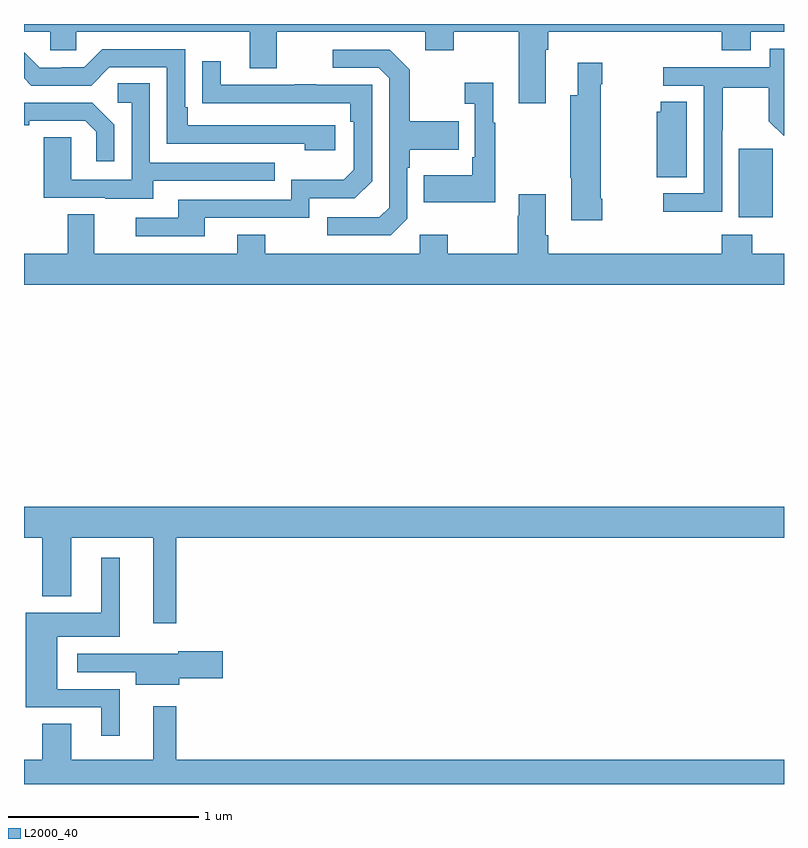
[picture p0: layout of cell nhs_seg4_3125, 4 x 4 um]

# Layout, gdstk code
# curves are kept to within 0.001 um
import gdstk
lib = gdstk.Library(unit=1e-6, precision=1e-09)
def R(c, l, rs):  # rectangles x0, y0, x1, y1
    for r in rs: c.add(gdstk.rectangle(r[:2], r[2:], *l))
def P(c, l, *ps):  # polygons
    for p in ps: c.add(gdstk.Polygon(p, *l))
L2000_40 = (2000, 40)

nhs_seg4_3125 = lib.new_cell('nhs_seg4_3125')
R(nhs_seg4_3125, L2000_40, [(280.763,755.882,280.942,756.243)])
P(nhs_seg4_3125, L2000_40, [(279.745,756.764),(279.758,756.764),(279.758,756.86),(280.673,756.86),(280.673,756.761),(280.825,756.761),(280.825,756.86),(281,756.86),(281,756.9),(277,756.9),(277,756.86),(277.137,756.86),(277.137,756.762),(277.275,756.762),(277.275,756.86),(278.189,756.86),(278.189,756.666),(278.329,756.666),(278.329,756.86),(279.113,756.86),(279.113,756.761),(279.261,756.761),(279.261,756.86),(279.605,756.86),(279.605,756.483),(279.745,756.483)],
  [(280.674,756.34),(280.677,756.34),(280.677,756.564),(280.921,756.564),(280.921,756.389),(280.998,756.312),(281,756.314),(281,756.769),(280.926,756.769),(280.926,756.672),(280.365,756.672),(280.365,756.576),(280.578,756.576),(280.578,756.009),(280.365,756.009),(280.365,755.911),(280.674,755.911)],
  [(278.638,756.366),(277.861,756.366),(277.861,756.463),(277.848,756.463),(277.848,756.768),(277.413,756.768),(277.317,756.672),(277.199,756.672),(277.199,756.669),(277.083,756.669),(277,756.752),(277,756.614),(277.038,756.576),(277.353,756.576),(277.449,756.672),(277.752,756.672),(277.752,756.27),(278.477,756.27),(278.477,756.236),(278.638,756.236)],
  [(279.018,755.874),(279.018,756.143),(279.031,756.143),(279.031,756.239),(279.287,756.239),(279.287,756.387),(279.031,756.387),(279.031,756.659),(278.925,756.765),(278.625,756.765),(278.625,756.669),(278.868,756.669),(278.922,756.615),(278.922,755.934),(278.871,755.883),(278.595,755.883),(278.595,755.787),(278.931,755.787)],
  [(277.951,755.88),(278.502,755.88),(278.502,755.982),(278.742,755.982),(278.832,756.072),(278.832,756.579),(278.537,756.579),(278.537,756.584),(278.425,756.584),(278.425,756.579),(278.035,756.579),(278.035,756.703),(277.939,756.703),(277.939,756.484),(278.716,756.483),(278.716,756.386),(278.736,756.386),(278.736,756.132),(278.683,756.079),(278.406,756.079),(278.406,755.976),(277.811,755.976),(277.811,755.88),(277.587,755.88),(277.587,755.784),(277.951,755.784)],
  [(280.044,755.98),(280.036,755.98),(280.036,756.584),(280.044,756.584),(280.044,756.697),(279.914,756.697),(279.914,756.526),(279.874,756.526),(279.874,756.091),(279.881,756.091),(279.881,755.868),(280.044,755.868)],
  [(279.481,756.379),(279.469,756.379),(279.469,756.592),(279.321,756.592),(279.321,756.479),(279.372,756.479),(279.372,756.199),(279.36,756.199),(279.36,756.103),(279.103,756.103),(279.103,755.963),(279.481,755.963)],
  [(277.681,756.075),(278.321,756.075),(278.321,756.171),(277.662,756.171),(277.662,756.587),(277.494,756.587),(277.494,756.486),(277.566,756.486),(277.566,756.081),(277.248,756.081),(277.248,756.305),(277.103,756.305),(277.103,755.985),(277.427,755.985),(277.427,755.981),(277.681,755.981)],
  [(280.489,756.491),(280.351,756.491),(280.351,756.438),(280.331,756.438),(280.331,756.094),(280.489,756.094)],
  [(277.476,756.37),(277.36,756.486),(277,756.486),(277,756.368),(277.027,756.368),(277.027,756.39),(277.322,756.39),(277.379,756.333),(277.379,756.177),(277.476,756.177)],
  [(281,755.692),(280.833,755.692),(280.833,755.791),(280.673,755.791),(280.673,755.692),(279.758,755.692),(279.758,755.788),(279.745,755.788),(279.745,756.004),(279.605,756.004),(279.605,755.891),(279.598,755.891),(279.598,755.692),(279.231,755.692),(279.231,755.791),(279.084,755.791),(279.084,755.692),(278.271,755.692),(278.271,755.791),(278.123,755.791),(278.123,755.692),(277.369,755.692),(277.369,755.9),(277.229,755.9),(277.229,755.692),(277,755.692),(277,755.528),(281,755.528)],
  [(277.801,754.196),(281,754.196),(281,754.36),(277,754.36),(277,754.196),(277.097,754.196),(277.097,753.887),(277.249,753.887),(277.249,754.196),(277.679,754.196),(277.679,753.747),(277.801,753.747)],
  [(277.504,753.399),(277.174,753.399),(277.174,753.674),(277.504,753.674),(277.504,754.09),(277.406,754.09),(277.406,753.802),(277.01,753.802),(277.01,753.303),(277.406,753.303),(277.406,753.153),(277.504,753.153)],
  [(277.816,753.457),(278.047,753.457),(278.047,753.599),(277.812,753.599),(277.812,753.586),(277.593,753.586),(277.593,753.585),(277.281,753.585),(277.281,753.489),(277.589,753.489),(277.589,753.422),(277.816,753.422)],
  [(281,753.028),(277.801,753.028),(277.801,753.31),(277.679,753.31),(277.679,753.028),(277.249,753.028),(277.249,753.218),(277.097,753.218),(277.097,753.028),(277,753.028),(277,752.9),(281,752.9)])

lib.write_gds('nhs_seg4_3125.gds')
